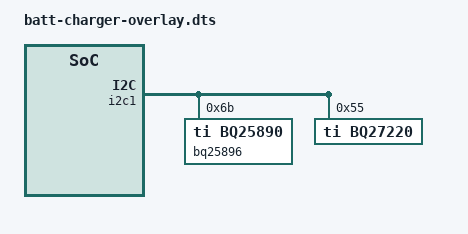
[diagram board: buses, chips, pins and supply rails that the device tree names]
/dts-v1/;
/plugin/;

#include <dt-bindings/gpio/gpio.h>
#include <dt-bindings/interrupt-controller/irq.h>

&i2c1 {
    status = "okay";

    bq25896@6b {
        compatible = "ti,bq25890";
        reg = <0x6b>;
        ti,battery-regulation-voltage = <4200000>;
        ti,charge-current = <2000000>;
        ti,termination-current = <200000>;
        ti,precharge-current = <500000>;
        ti,minimum-sys-voltage       = <3500000>;  
	ti,boost-voltage             = <5000000>;   
	ti,boost-max-current         = <1000000>;    
    };

    bq27220@55 {
        compatible = "ti,bq27220";
        reg = <0x55>;
    };
};
